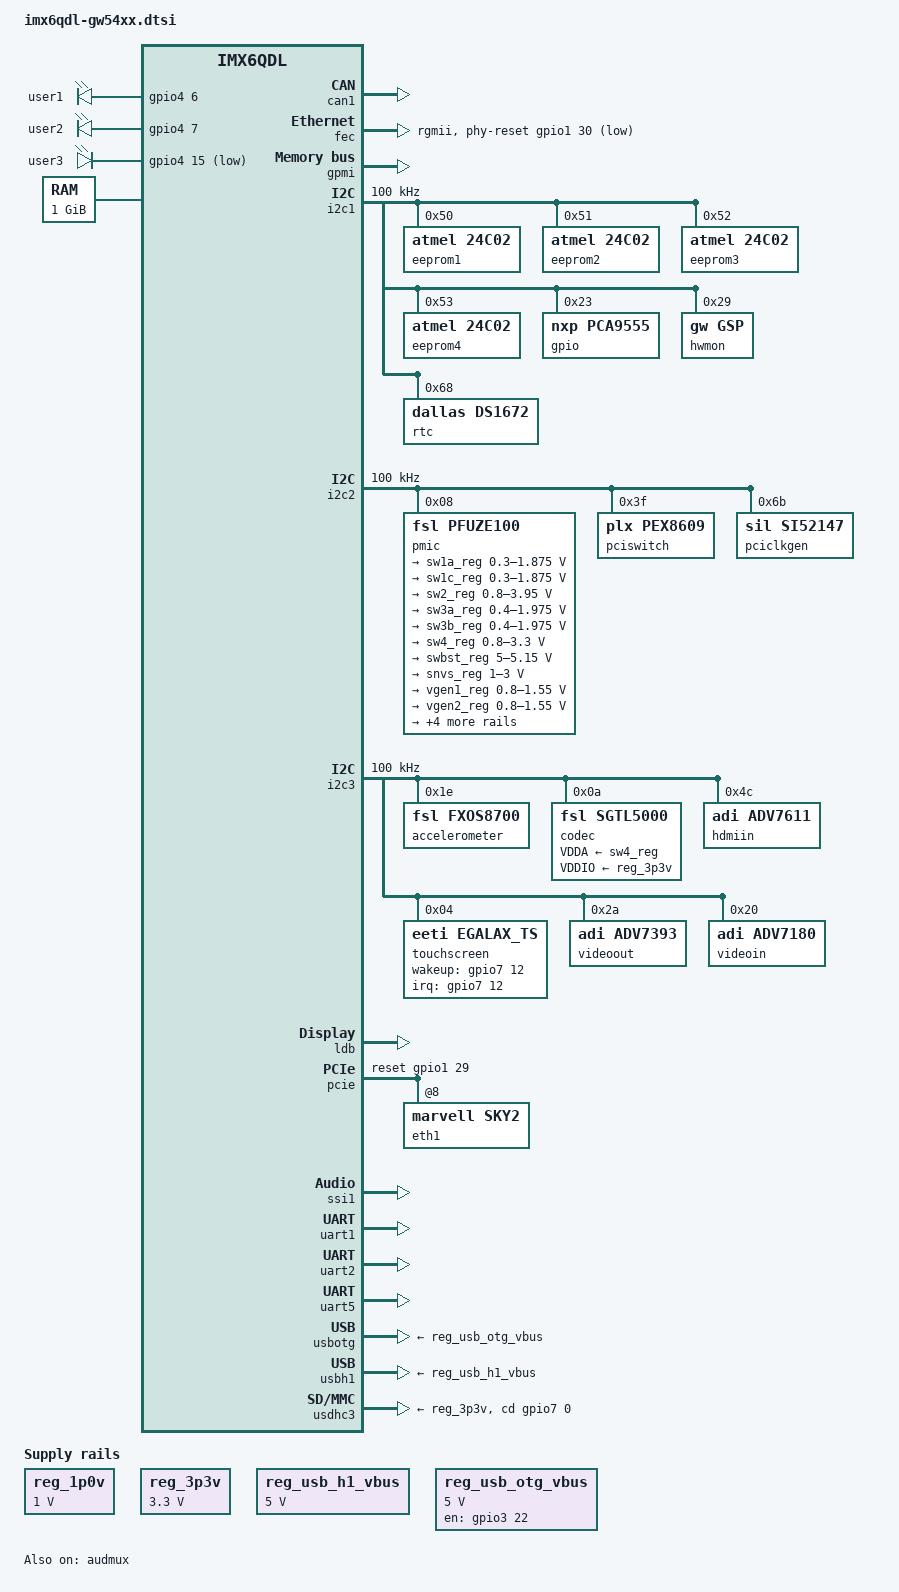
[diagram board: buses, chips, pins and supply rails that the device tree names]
/*
 * Copyright 2013 Gateworks Corporation
 *
 * The code contained herein is licensed under the GNU General Public
 * License. You may obtain a copy of the GNU General Public License
 * Version 2 or later at the following locations:
 *
 * http://www.opensource.org/licenses/gpl-license.html
 * http://www.gnu.org/copyleft/gpl.html
 */

/ {
	/* these are used by bootloader for disabling nodes */
	aliases {
		can0 = &can1;
		ethernet0 = &fec;
		ethernet1 = &eth1;
		i2c0 = &i2c1;
		i2c1 = &i2c2;
		i2c2 = &i2c3;
		led0 = &led0;
		led1 = &led1;
		led2 = &led2;
		nand = &gpmi;
		sky2 = &eth1;
		ssi0 = &ssi1;
		usb0 = &usbh1;
		usb1 = &usbotg;
		usdhc2 = &usdhc3;
	};

	chosen {
		bootargs = "console=ttymxc1,115200";
	};

	leds {
		compatible = "gpio-leds";

		led0: user1 {
			label = "user1";
			gpios = <&gpio4 6 0>; /* 102 -> MX6_PANLEDG */
			default-state = "on";
			linux,default-trigger = "heartbeat";
		};

		led1: user2 {
			label = "user2";
			gpios = <&gpio4 7 0>; /* 103 -> MX6_PANLEDR */
			default-state = "off";
		};

		led2: user3 {
			label = "user3";
			gpios = <&gpio4 15 1>; /* 111 -> MX6_LOCLED# */
			default-state = "off";
		};
	};

	memory {
		reg = <0x10000000 0x40000000>;
	};

	regulators {
		compatible = "simple-bus";

		reg_1p0v: 1p0v {
			compatible = "regulator-fixed";
			regulator-name = "1P0V";
			regulator-min-microvolt = <1000000>;
			regulator-max-microvolt = <1000000>;
			regulator-always-on;
		};

		reg_3p3v: 3p3v {
			compatible = "regulator-fixed";
			regulator-name = "3P3V";
			regulator-min-microvolt = <3300000>;
			regulator-max-microvolt = <3300000>;
			regulator-always-on;
		};

		reg_usb_h1_vbus: usb_h1_vbus {
			compatible = "regulator-fixed";
			regulator-name = "usb_h1_vbus";
			regulator-min-microvolt = <5000000>;
			regulator-max-microvolt = <5000000>;
			regulator-always-on;
		};

		reg_usb_otg_vbus: usb_otg_vbus {
			compatible = "regulator-fixed";
			regulator-name = "usb_otg_vbus";
			regulator-min-microvolt = <5000000>;
			regulator-max-microvolt = <5000000>;
			gpio = <&gpio3 22 0>;
			enable-active-high;
		};
	};

	sound {
		compatible = "fsl,imx6q-ventana-sgtl5000",
			     "fsl,imx-audio-sgtl5000";
		model = "sgtl5000-audio";
		ssi-controller = <&ssi1>;
		audio-codec = <&codec>;
		audio-routing =
			"MIC_IN", "Mic Jack",
			"Mic Jack", "Mic Bias",
			"Headphone Jack", "HP_OUT";
		mux-int-port = <1>;
		mux-ext-port = <4>;
	};
};

&audmux {
	pinctrl-names = "default";
	pinctrl-0 = <&pinctrl_audmux_1>;
	status = "okay";
};

&can1 {
	pinctrl-names = "default";
	pinctrl-0 = <&pinctrl_flexcan1_1>;
	status = "okay";
};

&fec {
	pinctrl-names = "default";
	pinctrl-0 = <&pinctrl_enet_1>;
	phy-mode = "rgmii";
	phy-reset-gpios = <&gpio1 30 0>;
	status = "okay";
};

&gpmi {
	pinctrl-names = "default";
	pinctrl-0 = <&pinctrl_gpmi_nand_2>;
	status = "okay";
};

&i2c1 {
	clock-frequency = <100000>;
	pinctrl-names = "default";
	pinctrl-0 = <&pinctrl_i2c1_1>;
	status = "okay";

	eeprom1: eeprom@50 {
		compatible = "atmel,24c02";
		reg = <0x50>;
		pagesize = <16>;
	};

	eeprom2: eeprom@51 {
		compatible = "atmel,24c02";
		reg = <0x51>;
		pagesize = <16>;
	};

	eeprom3: eeprom@52 {
		compatible = "atmel,24c02";
		reg = <0x52>;
		pagesize = <16>;
	};

	eeprom4: eeprom@53 {
		compatible = "atmel,24c02";
		reg = <0x53>;
		pagesize = <16>;
	};

	gpio: pca9555@23 {
		compatible = "nxp,pca9555";
		reg = <0x23>;
		gpio-controller;
		#gpio-cells = <2>;
	};

	hwmon: gsc@29 {
		compatible = "gw,gsp";
		reg = <0x29>;
	};

	rtc: ds1672@68 {
		compatible = "dallas,ds1672";
		reg = <0x68>;
	};
};

&i2c2 {
	clock-frequency = <100000>;
	pinctrl-names = "default";
	pinctrl-0 = <&pinctrl_i2c2_2>;
	status = "okay";

	pmic: pfuze100@08 {
		compatible = "fsl,pfuze100";
		reg = <0x08>;

		regulators {
			sw1a_reg: sw1ab {
				regulator-min-microvolt = <300000>;
				regulator-max-microvolt = <1875000>;
				regulator-boot-on;
				regulator-always-on;
				regulator-ramp-delay = <6250>;
			};

			sw1c_reg: sw1c {
				regulator-min-microvolt = <300000>;
				regulator-max-microvolt = <1875000>;
				regulator-boot-on;
				regulator-always-on;
				regulator-ramp-delay = <6250>;
			};

			sw2_reg: sw2 {
				regulator-min-microvolt = <800000>;
				regulator-max-microvolt = <3950000>;
				regulator-boot-on;
				regulator-always-on;
			};

			sw3a_reg: sw3a {
				regulator-min-microvolt = <400000>;
				regulator-max-microvolt = <1975000>;
				regulator-boot-on;
				regulator-always-on;
			};

			sw3b_reg: sw3b {
				regulator-min-microvolt = <400000>;
				regulator-max-microvolt = <1975000>;
				regulator-boot-on;
				regulator-always-on;
			};

			sw4_reg: sw4 {
				regulator-min-microvolt = <800000>;
				regulator-max-microvolt = <3300000>;
			};

			swbst_reg: swbst {
				regulator-min-microvolt = <5000000>;
				regulator-max-microvolt = <5150000>;
			};

			snvs_reg: vsnvs {
				regulator-min-microvolt = <1000000>;
				regulator-max-microvolt = <3000000>;
				regulator-boot-on;
				regulator-always-on;
			};

			vref_reg: vrefddr {
				regulator-boot-on;
				regulator-always-on;
			};

			vgen1_reg: vgen1 {
				regulator-min-microvolt = <800000>;
				regulator-max-microvolt = <1550000>;
			};

			vgen2_reg: vgen2 {
				regulator-min-microvolt = <800000>;
				regulator-max-microvolt = <1550000>;
			};

			vgen3_reg: vgen3 {
				regulator-min-microvolt = <1800000>;
				regulator-max-microvolt = <3300000>;
			};

			vgen4_reg: vgen4 {
				regulator-min-microvolt = <1800000>;
				regulator-max-microvolt = <3300000>;
				regulator-always-on;
			};

			vgen5_reg: vgen5 {
				regulator-min-microvolt = <1800000>;
				regulator-max-microvolt = <3300000>;
				regulator-always-on;
			};

			vgen6_reg: vgen6 {
				regulator-min-microvolt = <1800000>;
				regulator-max-microvolt = <3300000>;
				regulator-always-on;
			};
		};
	};

	pciswitch: pex8609@3f {
		compatible = "plx,pex8609";
		reg = <0x3f>;
	};

	pciclkgen: si52147@6b {
		compatible = "sil,si52147";
		reg = <0x6b>;
	};
};

&i2c3 {
	clock-frequency = <100000>;
	pinctrl-names = "default";
	pinctrl-0 = <&pinctrl_i2c3_2>;
	status = "okay";

	accelerometer: fxos8700@1e {
		compatible = "fsl,fxos8700";
		reg = <0x1e>;
	};

	codec: sgtl5000@0a {
		compatible = "fsl,sgtl5000";
		reg = <0x0a>;
		clocks = <&clks 169>;
		VDDA-supply = <&sw4_reg>;
		VDDIO-supply = <&reg_3p3v>;
	};

	hdmiin: adv7611@4c {
		compatible = "adi,adv7611";
		reg = <0x4c>;
	};

	touchscreen: egalax_ts@04 {
		compatible = "eeti,egalax_ts";
		reg = <0x04>;
		interrupt-parent = <&gpio7>;
		interrupts = <12 2>; /* gpio7_12 active low */
		wakeup-gpios = <&gpio7 12 0>;
	};

	videoout: adv7393@2a {
		compatible = "adi,adv7393";
		reg = <0x2a>;
	};

	videoin: adv7180@20 {
		compatible = "adi,adv7180";
		reg = <0x20>;
	};
};

&ldb {
	status = "okay";
	lvds-channel@0 {
		crtcs = <&ipu1 0>, <&ipu1 1>;
	};
};

&pcie {
	reset-gpio = <&gpio1 29 0>;
	status = "okay";

	eth1: sky2@8 { /* MAC/PHY on bus 8 */
		compatible = "marvell,sky2";
		/* Filled in by U-Boot */
		mac-address = [ 00 00 00 00 00 00 ];
	};
};

&ssi1 {
	fsl,mode = "i2s-slave";
	status = "okay";
};

&uart1 {
	pinctrl-names = "default";
	pinctrl-0 = <&pinctrl_uart1_2>;
	status = "okay";
};

&uart2 {
	pinctrl-names = "default";
	pinctrl-0 = <&pinctrl_uart2_3>;
	status = "okay";
};

&uart5 {
	pinctrl-names = "default";
	pinctrl-0 = <&pinctrl_uart5_1>;
	status = "okay";
};

&usbotg {
	vbus-supply = <&reg_usb_otg_vbus>;
	pinctrl-names = "default";
	pinctrl-0 = <&pinctrl_usbotg_1>;
	disable-over-current;
	status = "okay";
};

&usbh1 {
	vbus-supply = <&reg_usb_h1_vbus>;
	status = "okay";
};

&usdhc3 {
	pinctrl-names = "default";
	pinctrl-0 = <&pinctrl_usdhc3_2>;
	cd-gpios = <&gpio7 0 0>;
	vmmc-supply = <&reg_3p3v>;
	status = "okay";
};
